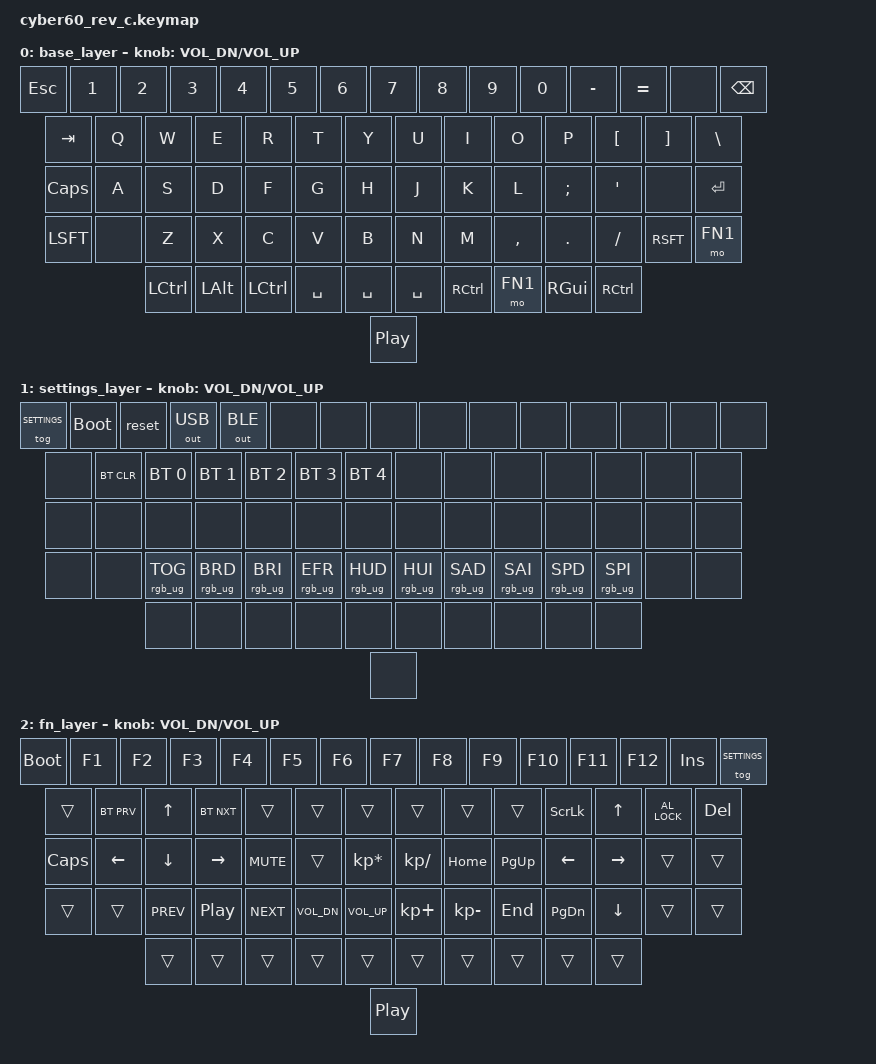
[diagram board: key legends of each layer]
#include <behaviors.dtsi>
#include <dt-bindings/zmk/keys.h>
#include <dt-bindings/zmk/bt.h>
#include <dt-bindings/zmk/outputs.h>
#include <dt-bindings/zmk/rgb.h>
#include <dt-bindings/zmk/ext_power.h>

#define FN1 2
#define SETTINGS 1
/ {
	keymap {
		compatible = "zmk,keymap";
		base_layer {
// Base layer with ctrl at backspace position
// ------------------------------------------------------------------------------------------
// | ESC |  1  |  2  |  3  |  4  |  5  |  6  |  7  |  8  |  9  |  0  |  -  |  =  |   BKSP   |
// |  TAB |  Q  |  W  |  E  |  R  |  T  |  Y  |  U  |  I  |  O  |  P  |  [  |  ]  |   "|"   |
// | CAPS  |  A  |  S  |  D  |  F  |  G  |  H  |  J  |  K  |  L  |  ;  |  '  |none| ENTER   |
// | SHIFT |none| Z |  X  |  C  |  V  |  B  |  N  |  M  |  ,  |  .  |  /  |    Shift   | FN |
// |  LCTL  |  LWIN  |  LALT  | SPACE  | SPACE |    SPACE   |  RALT | FN  |   RWIN  | RCTRL |
// | Rotary | (<-- Rotary switch) ----------------------------------------------------------- 
				bindings = <
  &kp ESC  &kp NUM_1  &kp NUM_2  &kp NUM_3  &kp NUM_4  &kp NUM_5  &kp NUM_6  &kp NUM_7  &kp NUM_8  &kp NUM_9  &kp NUM_0  &kp MINUS   &kp EQL     &none  &kp BKSP
  &kp TAB      &kp Q      &kp W      &kp E      &kp R      &kp T      &kp Y      &kp U      &kp I      &kp O      &kp P   &kp LBKT  &kp RBKT  &kp BSLH
 &kp CLCK      &kp A      &kp S      &kp D      &kp F      &kp G      &kp H      &kp J      &kp K      &kp L   &kp SCLN   &kp QUOT     &none   &kp RET
 &kp LSFT      &none      &kp Z      &kp X      &kp C      &kp V      &kp B      &kp N      &kp M   &kp CMMA    &kp DOT             &kp FSLH  &kp RSFT   &mo FN1
 &kp LCTL   &kp LALT  &kp LCTRL    &kp SPC    &kp SPC    &kp SPC  &kp RCTRL    &mo FN1   &kp RGUI   &kp RCTL
 &kp C_PP
            >;
			sensor-bindings = <&inc_dec_kp C_VOL_DN C_VOL_UP>;
		};
		settings_layer {
// Settings layer to change keyboard behaviour
// ------------------------------------------------------------------------------------------
// | EXIT|BOOTL| RST | USB | BLE | NON | NON | NON | NON | NON | NON | NON | NON | NON |NON |
// | NON  |BTCLR| BT0 | BT1 | BT2 | BT3 | BT4 | NON | NON | NON | NON | NON | NON |   NON   |
// |  NON  | NON | NON | NON | NON | NON | NON | NON | NON | NON | NON | NON | NON |  NON   |
// |  NON | NON|U_TG|U_BRD|U_BRI|U_EFR|U_HUD|U_HUI|U_SAD|U_SAI|U_SPD|U_SPI|    NON    | NON |
// |   NON  |  NON   |  NON   |   NON  | NON |    NON       |  NON  |  NON  |  NON  |  NON  |
// | Rotary | (<-- Rotary switch) ----------------------------------------------------------- 
				bindings = <
 &tog SETTINGS  &bootloader           &reset     &out OUT_USB     &out OUT_BLE            &none            &none            &none            &none            &none            &none   &none            &none   &none   &none
         &none   &bt BT_CLR     &bt BT_SEL 0     &bt BT_SEL 1     &bt BT_SEL 2     &bt BT_SEL 3     &bt BT_SEL 4            &none            &none            &none            &none   &none            &none   &none
         &none        &none            &none            &none            &none            &none            &none            &none            &none            &none            &none   &none            &none   &none
         &none        &none  &rgb_ug RGB_TOG  &rgb_ug RGB_BRD  &rgb_ug RGB_BRI  &rgb_ug RGB_EFR  &rgb_ug RGB_HUD  &rgb_ug RGB_HUI  &rgb_ug RGB_SAD  &rgb_ug RGB_SAI  &rgb_ug RGB_SPD          &rgb_ug RGB_SPI   &none   &none
         &none        &none            &none            &none            &none            &none            &none            &none            &none            &none
         &none
            >;
			sensor-bindings = <&inc_dec_kp C_VOL_DN C_VOL_UP>;
		};
		fn_layer {
// Function layer
// ------------------------------------------------------------------------------------------
// | BOOT |  F1 |  F2 |  F3 |  F4 |  F5 |  F6 |  F7 |  F8 |  F9 | F10 | F11 | F12 |INS | RST|
// | TAB  |BTPRV|  UP |BTNXT| TOG0| TOG1| TOG2| BT3 | BT4 | PRNT| SLCKL | UP  | LOCK |  DEL |
// | CAPS  |LEFT |DOWN |RIGHT|MUTE |  G  |  *  |  /  | HOME| PGUP| LEFT|RIGHT|none|  ENTER  |
// | SHIFT |none|PRV|PLAYP|NEXT | VOLD| VOLU|  +  |  -  | END | PGDN| DOWN|    Shift   | FN |
// |  LCTL  |  LGUI  |  LWIN  |  RALT  | FN |     SPACE     |  RALT |  RWIN | RMENU | RCTRL |
// | Rotary | (<-- Rotary switch) ----------------------------------------------------------- 
			bindings = <
 &bootloader      &kp F1      &kp F2      &kp F3      &kp F4        &kp F5           &kp F6        &kp F7        &kp F8     &kp F9    &kp F10    &kp F11        &kp F12  &kp INS  &tog SETTINGS
      &trans  &bt BT_PRV      &kp UP  &bt BT_NXT      &trans        &trans           &trans        &trans        &trans     &trans   &kp SLCK     &kp UP  &kp C_AL_LOCK  &kp DEL
    &kp CLCK    &kp LEFT    &kp DOWN   &kp RIGHT  &kp K_MUTE        &trans  &kp KP_ASTERISK  &kp KP_SLASH      &kp HOME  &kp PG_UP   &kp LEFT  &kp RIGHT         &trans   &trans
      &trans      &trans  &kp C_PREV    &kp C_PP  &kp C_NEXT  &kp C_VOL_DN     &kp C_VOL_UP   &kp KP_PLUS  &kp KP_MINUS    &kp END  &kp PG_DN                  &kp DOWN   &trans         &trans
      &trans      &trans      &trans      &trans      &trans        &trans           &trans        &trans        &trans     &trans
    &kp C_PP
            >;
			sensor-bindings = <&inc_dec_kp C_VOL_DN C_VOL_UP>;
		};
	};
};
